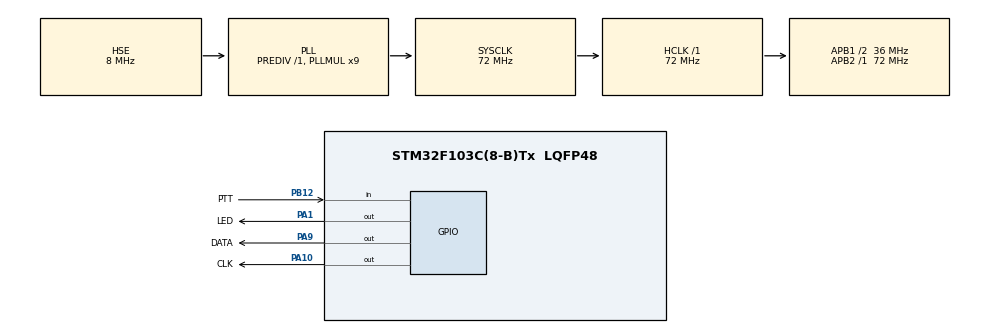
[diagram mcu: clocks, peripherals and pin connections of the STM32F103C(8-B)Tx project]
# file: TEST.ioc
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Mcu.Family=STM32F1
Mcu.Name=STM32F103C(8-B)Tx
Mcu.Package=LQFP48
NVIC.PriorityGroup=NVIC_PRIORITYGROUP_4
PA1.GPIO_Label=LED
PA1.PinState=GPIO_PIN_SET
PA1.Signal=GPIO_Output
PA10.GPIO_Label=CLK
PA10.PinState=GPIO_PIN_SET
PA10.Signal=GPIO_Output
PA9.GPIO_Label=DATA
PA9.PinState=GPIO_PIN_SET
PA9.Signal=GPIO_Output
PB12.GPIO_Label=PTT
PB12.GPIO_PuPd=GPIO_PULLDOWN
PB12.Signal=GPIO_Input
PD0-OSC_IN.Mode=HSE-External-Oscillator
PD0-OSC_IN.Signal=RCC_OSC_IN
PD1-OSC_OUT.Mode=HSE-External-Oscillator
PD1-OSC_OUT.Signal=RCC_OSC_OUT
ProjectManager.HeapSize=0x200
ProjectManager.StackSize=0x400
ProjectManager.TargetToolchain=MDK-ARM V5
RCC.AHBFreq_Value=72000000
RCC.APB1CLKDivider=RCC_HCLK_DIV2
RCC.APB1Freq_Value=36000000
RCC.APB1TimFreq_Value=72000000
RCC.APB2Freq_Value=72000000
RCC.APB2TimFreq_Value=72000000
RCC.HCLKFreq_Value=72000000
RCC.PLLMUL=RCC_PLL_MUL9
RCC.PLLSourceVirtual=RCC_PLLSOURCE_HSE
RCC.SYSCLKFreq_VALUE=72000000
RCC.SYSCLKSource=RCC_SYSCLKSOURCE_PLLCLK
RCC.USBFreq_Value=72000000
VP_SYS_VS_ND.Mode=No_Debug
board=custom

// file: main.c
/* USER CODE BEGIN Header */
/**
  ******************************************************************************
  * @file           : main.c
  * @brief          : Main program body
  ******************************************************************************
  * @attention
  *
  * <h2><center>&copy; Copyright (c) 2020 STMicroelectronics.
  * All rights reserved.</center></h2>
  *
  * This software component is licensed by ST under BSD 3-Clause license,
  * the "License"; You may not use this file except in compliance with the
  * License. You may obtain a copy of the License at:
  *                        opensource.org/licenses/BSD-3-Clause
  *
  ******************************************************************************
  */
/* USER CODE END Header */

#include "main.h"

/* USER CODE BEGIN Includes */
unsigned short rxfreq[]={//439.725Mhz
0x52BE,0xF850,0x0000};
unsigned short txfreq[]={
0x52C5,0x925F,0x0000};
unsigned short rxreg[]={
0x0300,
0x8e04,
0xF140,
0xED00,
0x17E0,
0xe0e0,
0x8543,
0x0700,
0xA066,
0xFFFF,
0xFFE0,
0x07a0,
0x9E3C,
0x1F00,
0xD1c1,
0x200F,
0x01FF,
0xE000,
0x0339
 };
unsigned short txreg[]={
0x7C00,
0x0c04,
0xF140,
0xED00,
0x3fE0,
0xe0e0,
0x8543,
0x0700,
0xA066,
0xFFFF,
0xffe0,
0x061f,
0x9e3c,
0x1f00,
0xd1C1,
0x200f,
0x01FF,
0xE000,
0x0c00
};
/* USER CODE END Includes */

/* USER CODE BEGIN PTD */
void delay1(unsigned short int ms)
{
	unsigned short int i;
	i=100;
	while(ms--)
		while(i--);
}
/* USER CODE END PTD */
unsigned short s;
/* USER CODE BEGIN PD */
unsigned char HIGHBYTE(unsigned short bi)//Get higer 8 bit
	 {
		 unsigned char highER ;
		 highER=bi>>8;
		 return highER;
	 }
unsigned char 	LOWBYTE(unsigned short bi)//Get lower 8 bit
	 {
		 unsigned char lowER;
		 lowER=bi&0xff;
		 return lowER;
	 }

/* USER CODE END PD */
void IIC_Start()
{
  HAL_GPIO_WritePin(GPIOA,CLK_Pin, 1);// SCL = high;
  HAL_GPIO_WritePin(GPIOA, DATA_Pin, 1);// SDA = high;
  HAL_GPIO_WritePin(GPIOA, DATA_Pin, 0); //SDA = low;
  HAL_GPIO_WritePin(GPIOA, CLK_Pin, 0); //SCL = low;
}
void IIC_Stop()
{
  HAL_GPIO_WritePin(GPIOA, CLK_Pin, 0); // SCL = low;
  HAL_GPIO_WritePin(GPIOA, DATA_Pin, 0); // SDA = low;
  HAL_GPIO_WritePin(GPIOA,CLK_Pin, 1);// SCL = high;
  HAL_GPIO_WritePin(GPIOA, DATA_Pin, 1);//  SDA = high;
}
void Write_IIC_Byte(unsigned char IIC_Byte)
{
	unsigned char i;
	for(i=0;i<8;i++)
	{
		if(IIC_Byte & 0x80)
			HAL_GPIO_WritePin(GPIOA, DATA_Pin, 1);//SDA=high;
		else
			HAL_GPIO_WritePin(GPIOA, DATA_Pin, 0); //SDA=low;
		HAL_GPIO_WritePin(GPIOA,CLK_Pin, 1);// SCL=high;
		HAL_GPIO_WritePin(GPIOA, CLK_Pin, 0); //SCL=low;
		IIC_Byte<<=1;
	}
	HAL_GPIO_WritePin(GPIOA, DATA_Pin, 1);// SDA=1;
	HAL_GPIO_WritePin(GPIOA,CLK_Pin, 1);//SCL=1;
	HAL_GPIO_WritePin(GPIOA, CLK_Pin, 0); //SCL=0;
}
void writing(unsigned char ICaddforwrite,unsigned char hadd,unsigned char hdata,unsigned char ldata)//WRITE TO  BK4802N
	 {

    IIC_Start();	 //??????
    Write_IIC_Byte(ICaddforwrite);                          //??????+???
    Write_IIC_Byte(hadd);
	  Write_IIC_Byte(hdata);
		Write_IIC_Byte(ldata);
		IIC_Stop();
		delay1(1);
	 }

void SystemClock_Config(void);
static void MX_GPIO_Init(void);

int main(void)
{
	unsigned char i;
	unsigned char k=0;

  /* MCU Configuration--------------------------------------------------------*/

  /* Reset of all peripherals, Initializes the Flash interface and the Systick. */
  HAL_Init();

  /* Configure the system clock */
  SystemClock_Config();

  /* Initialize all configured peripherals */
  MX_GPIO_Init();
  /* USER CODE BEGIN 2 */
  HAL_GPIO_WritePin(GPIOA, LED_Pin, 1);//LED falshing test
	delay1(100);
	HAL_GPIO_WritePin(GPIOA, LED_Pin, 0);
	delay1(100);
	HAL_GPIO_WritePin(GPIOA, LED_Pin, 1);
	delay1(100);
	HAL_GPIO_WritePin(GPIOA, LED_Pin, 0);
	delay1(100);
  /* USER CODE END 2 */
  writing(0x90,23,0xa8,0XD0);
	for(i=4;i<=22;i++)
	    {
				writing(0x90,i,HIGHBYTE(rxreg[i-4]),LOWBYTE(rxreg[i-4]));
			}

		 for(i=5;i>2;i--)
		 {
			 writing(0x90,i-3,HIGHBYTE(rxfreq[i-3]),LOWBYTE(rxfreq[i-3]));
		 }

  /* Infinite loop */
  while (1)
  {
  HAL_GPIO_WritePin(GPIOA, LED_Pin, 1);
	if( HAL_GPIO_ReadPin(GPIOB,PTT_Pin)==1&&k==0)//Set to TX if PTT =HIGH.
			{

				delay1(50);
				if(HAL_GPIO_ReadPin(GPIOB,PTT_Pin)==1)
				{

					  for(i=4;i<=22;i++)
	       {
				   writing(0x90,i,HIGHBYTE(txreg[i-4]),LOWBYTE(txreg[i-4]));
			    }

		      for(i=5;i>2;i--)
		      {
			     writing(0x90,i-3,HIGHBYTE(txfreq[i-3]),LOWBYTE(txfreq[i-3]));
		      }
					delay1(50);

					k=1;
				}
			}
				if(HAL_GPIO_ReadPin(GPIOB,PTT_Pin)==0&&k==1)//Set to RX.
				{

					delay1(50);
				if(HAL_GPIO_ReadPin(GPIOB,PTT_Pin)==0)
				{

					writing(0x90,23,0xa8,0XD0);
					  for(i=4;i<=22;i++)
	       {
				   writing(0x90,i,HIGHBYTE(rxreg[i-4]),LOWBYTE(rxreg[i-4]));
			    }

		      for(i=5;i>2;i--)
		      {
			     writing(0x90,i-3,HIGHBYTE(rxfreq[i-3]),LOWBYTE(rxfreq[i-3]));
		      }
					delay1(50);

					k=0;
			  }
		   }
  }
}

void SystemClock_Config(void)
{
  RCC_OscInitTypeDef RCC_OscInitStruct = {0};
  RCC_ClkInitTypeDef RCC_ClkInitStruct = {0};

  /** Initializes the CPU, AHB and APB busses clocks
  */
  RCC_OscInitStruct.OscillatorType = RCC_OSCILLATORTYPE_HSE;
  RCC_OscInitStruct.HSEState = RCC_HSE_ON;
  RCC_OscInitStruct.HSEPredivValue = RCC_HSE_PREDIV_DIV1;
  RCC_OscInitStruct.HSIState = RCC_HSI_ON;
  RCC_OscInitStruct.PLL.PLLState = RCC_PLL_ON;
  RCC_OscInitStruct.PLL.PLLSource = RCC_PLLSOURCE_HSE;
  RCC_OscInitStruct.PLL.PLLMUL = RCC_PLL_MUL9;
  if (HAL_RCC_OscConfig(&RCC_OscInitStruct) != HAL_OK)
  {
    Error_Handler();
  }
  /** Initializes the CPU, AHB and APB busses clocks
  */
  RCC_ClkInitStruct.ClockType = RCC_CLOCKTYPE_HCLK|RCC_CLOCKTYPE_SYSCLK
                              |RCC_CLOCKTYPE_PCLK1|RCC_CLOCKTYPE_PCLK2;
  RCC_ClkInitStruct.SYSCLKSource = RCC_SYSCLKSOURCE_PLLCLK;
  RCC_ClkInitStruct.AHBCLKDivider = RCC_SYSCLK_DIV1;
  RCC_ClkInitStruct.APB1CLKDivider = RCC_HCLK_DIV2;
  RCC_ClkInitStruct.APB2CLKDivider = RCC_HCLK_DIV1;

  if (HAL_RCC_ClockConfig(&RCC_ClkInitStruct, FLASH_LATENCY_2) != HAL_OK)
  {
    Error_Handler();
  }
}

static void MX_GPIO_Init(void)
{
  GPIO_InitTypeDef GPIO_InitStruct = {0};

  /* GPIO Ports Clock Enable */
  __HAL_RCC_GPIOD_CLK_ENABLE();
  __HAL_RCC_GPIOA_CLK_ENABLE();
  __HAL_RCC_GPIOB_CLK_ENABLE();

  /*Configure GPIO pin Output Level */
  HAL_GPIO_WritePin(GPIOA, LED_Pin|DATA_Pin|CLK_Pin, GPIO_PIN_SET);

  /*Configure GPIO pins : LED_Pin DATA_Pin CLK_Pin */
  GPIO_InitStruct.Pin = LED_Pin|DATA_Pin|CLK_Pin;
  GPIO_InitStruct.Mode = GPIO_MODE_OUTPUT_PP;
  GPIO_InitStruct.Pull = GPIO_NOPULL;
  GPIO_InitStruct.Speed = GPIO_SPEED_FREQ_LOW;
  HAL_GPIO_Init(GPIOA, &GPIO_InitStruct);

  /*Configure GPIO pin : PTT_Pin */
  GPIO_InitStruct.Pin = PTT_Pin;
  GPIO_InitStruct.Mode = GPIO_MODE_INPUT;
  GPIO_InitStruct.Pull = GPIO_PULLDOWN;
  HAL_GPIO_Init(PTT_GPIO_Port, &GPIO_InitStruct);

}

void Error_Handler(void)
{
}

/************************ (C) COPYRIGHT STMicroelectronics *****END OF FILE****/
